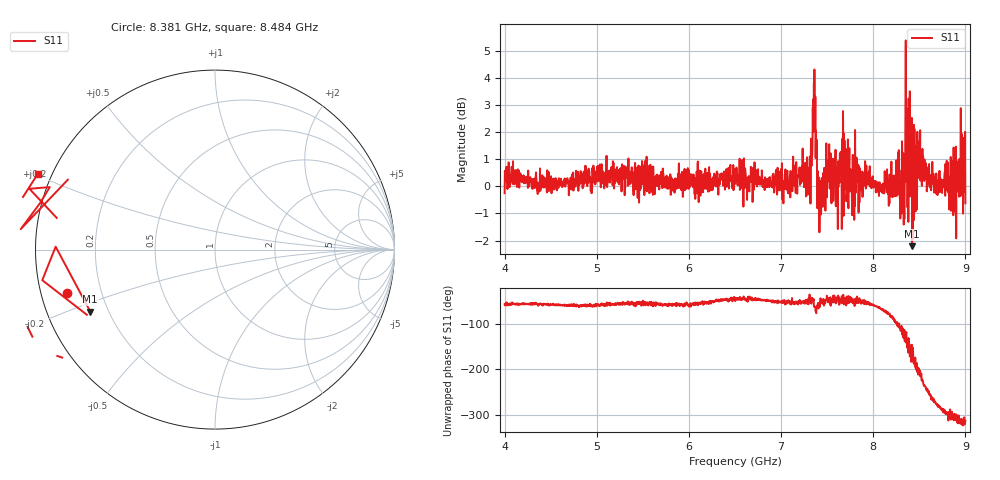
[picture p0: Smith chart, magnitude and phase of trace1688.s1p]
! Created with skrf 1.8.0 (http://scikit-rf.org).
# Hz S RI R 50.0
!freq ReS11 ImS11
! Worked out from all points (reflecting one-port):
!   1601 points, 4 GHz to 9 GHz, reference 50 ohm
!   lowest |S11| = -2.2 dB at 8.422 GHz (marker M1), VSWR 7.92, Z = 6.65 - j11.5 ohm
!   phase of S11 starts at -58 deg and turns -254 deg over the sweep
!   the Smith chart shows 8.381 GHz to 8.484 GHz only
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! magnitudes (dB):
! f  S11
! 4 GHz  -0.3
! 4.1 GHz  0.6
! 4.625 GHz  0.0
! 5.25 GHz  0.2
! 5.875 GHz  0.1
! 6.5 GHz  0.1
! 7.125 GHz  0.2
! 7.294 GHz  0.7
! 7.316 GHz  0.9
! 7.347 GHz  2.0
! 7.362 GHz  4.3
! 7.416 GHz  -1.7
! 7.516 GHz  0.3
! 7.591 GHz  1.3
! 7.662 GHz  0.2
! 7.75 GHz  0.6
! 8.312 GHz  1.7
! 8.334 GHz  -0.5
! 8.375 GHz  1.2
! 8.406 GHz  1.1
! 8.422 GHz  -2.2
! 8.447 GHz  2.1
! 8.459 GHz  -0.9
! 8.519 GHz  1.2
! 8.638 GHz  0.2
! 8.844 GHz  -0.9
! 8.972 GHz  0.1
! 9 GHz  -0.6
